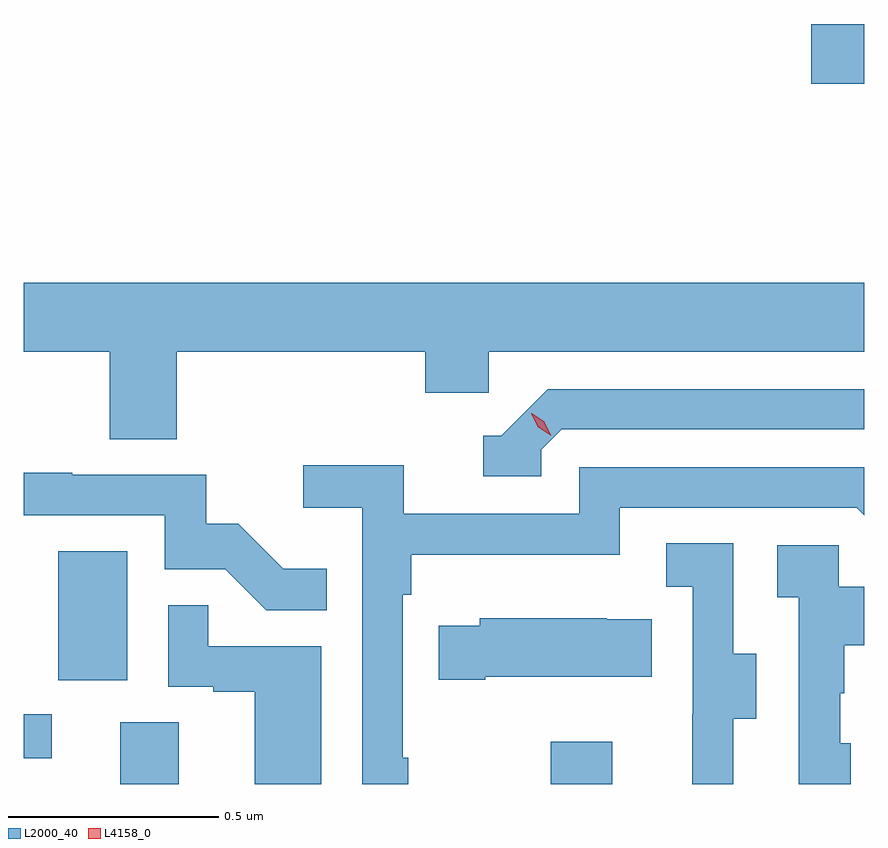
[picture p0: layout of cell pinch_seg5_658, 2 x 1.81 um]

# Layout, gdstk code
import gdstk
lib = gdstk.Library(unit=1e-6, precision=1e-09)
def R(c, l, rs):  # rectangles x0, y0, x1, y1
    for r in rs: c.add(gdstk.rectangle(r[:2], r[2:], *l))
def P(c, l, *ps):  # polygons
    for p in ps: c.add(gdstk.Polygon(p, *l))
L2000_40 = (2000, 40)
L4158_0 = (4158, 0)

pinch_seg5_658 = lib.new_cell('pinch_seg5_658')
R(pinch_seg5_658, L2000_40, [(1046.141,846.407,1046.281,846.554), (1047.166,846.407,1047.313,846.508), (1045.912,846.468,1045.978,846.573), (1045.994,846.654,1046.158,846.961), (1047.786,848.074,1047.912,848.216)])
P(pinch_seg5_658, L2000_40, [(1045.912,847.436),(1046.116,847.436),(1046.116,847.228),(1046.276,847.228),(1046.276,847.436),(1046.867,847.436),(1046.867,847.338),(1047.018,847.338),(1047.018,847.436),(1047.912,847.436),(1047.912,847.6),(1045.912,847.6)],
  [(1047.144,847.203),(1047.192,847.251),(1047.912,847.251),(1047.912,847.347),(1047.159,847.347),(1047.048,847.236),(1047.005,847.236),(1047.005,847.14),(1047.144,847.14)],
  [(1046.827,846.469),(1046.814,846.469),(1046.814,846.857),(1046.834,846.857),(1046.834,846.953),(1047.33,846.953),(1047.33,847.065),(1047.894,847.065),(1047.912,847.047),(1047.912,847.161),(1047.234,847.161),(1047.234,847.05),(1046.816,847.05),(1046.816,847.166),(1046.577,847.166),(1046.577,847.064),(1046.718,847.064),(1046.718,846.407),(1046.827,846.407)],
  [(1046.633,846.919),(1046.529,846.919),(1046.422,847.026),(1046.346,847.026),(1046.346,847.143),(1046.027,847.143),(1046.027,847.148),(1045.912,847.148),(1045.912,847.047),(1046.247,847.047),(1046.247,846.918),(1046.391,846.918),(1046.489,846.82),(1046.633,846.82)],
  [(1047.601,846.562),(1047.655,846.562),(1047.655,846.717),(1047.6,846.717),(1047.6,846.98),(1047.441,846.98),(1047.441,846.877),(1047.504,846.877),(1047.504,846.573),(1047.503,846.573),(1047.503,846.407),(1047.601,846.407)],
  [(1047.88,846.504),(1047.855,846.504),(1047.855,846.623),(1047.865,846.623),(1047.865,846.737),(1047.912,846.737),(1047.912,846.877),(1047.852,846.877),(1047.852,846.975),(1047.705,846.975),(1047.705,846.851),(1047.756,846.851),(1047.756,846.407),(1047.88,846.407)],
  [(1046.62,846.735),(1046.351,846.735),(1046.351,846.833),(1046.256,846.833),(1046.256,846.639),(1046.363,846.639),(1046.363,846.627),(1046.462,846.627),(1046.462,846.407),(1046.62,846.407)],
  [(1047.01,846.662),(1047.407,846.662),(1047.407,846.799),(1047.299,846.799),(1047.299,846.802),(1046.997,846.802),(1046.997,846.784),(1046.899,846.784),(1046.899,846.655),(1047.01,846.655)])
P(pinch_seg5_658, L4158_0, [(1047.167,847.236),(1047.136,847.256),(1047.12,847.288),(1047.12,847.289),(1047.121,847.289),(1047.151,847.269),(1047.167,847.236),(1047.167,847.236)])

lib.write_gds('pinch_seg5_658.gds')
